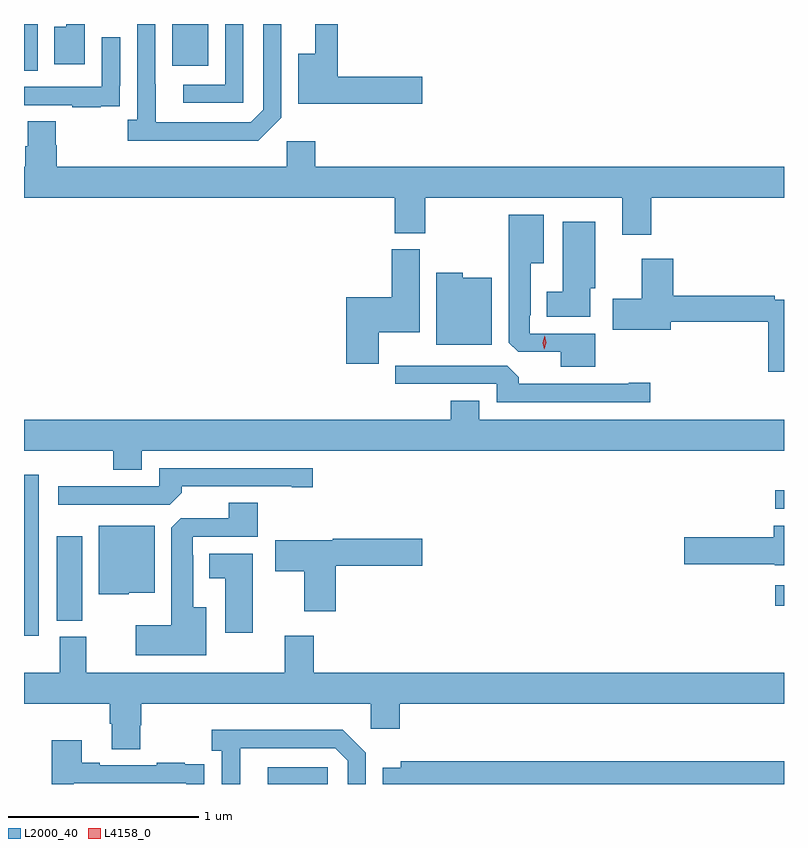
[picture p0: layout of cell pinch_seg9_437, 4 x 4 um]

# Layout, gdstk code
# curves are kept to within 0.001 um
import gdstk
lib = gdstk.Library(unit=1e-6, precision=1e-09)
def R(c, l, rs):  # rectangles x0, y0, x1, y1
    for r in rs: c.add(gdstk.rectangle(r[:2], r[2:], *l))
def P(c, l, *ps):  # polygons
    for p in ps: c.add(gdstk.Polygon(p, *l))
L2000_40 = (2000, 40)
L4158_0 = (4158, 0)

pinch_seg9_437 = lib.new_cell('pinch_seg9_437')
R(pinch_seg9_437, L2000_40, [(218.199,1201.326,218.514,1201.413), (216.916,1202.106,216.993,1202.953), (217.088,1202.185,217.222,1202.629), (220.869,1202.265,220.916,1202.373), (220.869,1202.775,220.916,1202.871), (216.916,1205.08,216.988,1205.326), (217.697,1205.105,217.885,1205.326)])
P(pinch_seg9_437, L2000_40, [(219.013,1205.048),(218.567,1205.048),(218.567,1205.326),(218.45,1205.326),(218.45,1205.17),(218.36,1205.17),(218.36,1204.906),(219.013,1204.906)],
  [(218.07,1205.326),(217.974,1205.326),(217.974,1205.007),(217.755,1205.007),(217.755,1204.911),(218.07,1204.911)],
  [(217.237,1205.326),(217.139,1205.326),(217.139,1205.311),(217.076,1205.311),(217.076,1205.115),(217.237,1205.115)],
  [(218.271,1204.833),(218.271,1205.326),(218.175,1205.326),(218.175,1204.875),(218.109,1204.809),(217.609,1204.809),(217.608,1205.326),(217.512,1205.326),(217.512,1204.822),(217.461,1204.822),(217.461,1204.712),(218.15,1204.712)],
  [(217.319,1204.893),(217.421,1204.893),(217.421,1205.002),(217.422,1205.002),(217.422,1205.257),(217.326,1205.257),(217.326,1204.995),(216.916,1204.995),(216.916,1204.899),(217.171,1204.899),(217.171,1204.887),(217.319,1204.887)],
  [(217.083,1204.689),(217.083,1204.814),(216.935,1204.814),(216.935,1204.682),(216.923,1204.682),(216.923,1204.576),(216.916,1204.576),(216.916,1204.412),(218.867,1204.412),(218.867,1204.225),(219.027,1204.225),(219.027,1204.412),(220.064,1204.412),(220.064,1204.218),(220.217,1204.218),(220.217,1204.412),(220.916,1204.412),(220.916,1204.576),(218.45,1204.576),(218.45,1204.708),(218.298,1204.708),(218.298,1204.576),(217.088,1204.576),(217.088,1204.689)],
  [(219.923,1203.696),(219.579,1203.696),(219.579,1203.793),(219.583,1203.793),(219.583,1204.067),(219.652,1204.067),(219.652,1204.321),(219.467,1204.321),(219.467,1203.649),(219.516,1203.6),(219.74,1203.6),(219.74,1203.521),(219.923,1203.521)],
  [(219.895,1203.936),(219.922,1203.936),(219.922,1204.285),(219.752,1204.285),(219.752,1203.916),(219.668,1203.916),(219.668,1203.785),(219.895,1203.785)],
  [(218.782,1203.704),(218.998,1203.704),(218.998,1204.14),(218.852,1204.14),(218.852,1203.889),(218.612,1203.889),(218.612,1203.537),(218.782,1203.537)],
  [(220.916,1203.876),(220.868,1203.876),(220.868,1203.896),(220.334,1203.896),(220.334,1204.09),(220.166,1204.09),(220.166,1203.879),(220.014,1203.879),(220.014,1203.716),(220.321,1203.716),(220.321,1203.76),(220.832,1203.76),(220.832,1203.495),(220.916,1203.495)],
  [(219.379,1203.991),(219.225,1203.991),(219.225,1204.018),(219.086,1204.018),(219.086,1203.638),(219.379,1203.638)],
  [(220.213,1203.437),(220.1,1203.437),(220.1,1203.432),(219.521,1203.432),(219.521,1203.466),(219.459,1203.528),(218.871,1203.528),(218.871,1203.432),(219.405,1203.432),(219.405,1203.336),(220.213,1203.336)],
  [(217.537,1203.08),(220.916,1203.08),(220.916,1203.244),(219.313,1203.244),(219.313,1203.343),(219.161,1203.343),(219.161,1203.244),(216.916,1203.244),(216.916,1203.08),(217.385,1203.08),(217.385,1202.981),(217.537,1202.981)],
  [(217.745,1202.858),(217.745,1202.892),(218.324,1202.892),(218.324,1202.887),(218.437,1202.887),(218.437,1202.988),(217.629,1202.988),(217.629,1202.892),(217.095,1202.892),(217.095,1202.796),(217.683,1202.796)],
  [(217.876,1202.257),(217.807,1202.257),(217.807,1202.531),(217.803,1202.531),(217.803,1202.628),(218.147,1202.628),(218.147,1202.807),(217.994,1202.807),(217.994,1202.724),(217.74,1202.724),(217.691,1202.675),(217.691,1202.161),(217.503,1202.161),(217.503,1202.003),(217.876,1202.003)],
  [(217.467,1202.333),(217.603,1202.333),(217.603,1202.686),(217.31,1202.686),(217.31,1202.324),(217.467,1202.324)],
  [(220.916,1202.686),(220.862,1202.686),(220.862,1202.625),(220.392,1202.625),(220.392,1202.483),(220.866,1202.483),(220.866,1202.477),(220.916,1202.477)],
  [(218.558,1202.474),(219.013,1202.474),(219.013,1202.616),(218.541,1202.616),(218.541,1202.608),(218.238,1202.608),(218.238,1202.446),(218.39,1202.446),(218.39,1202.235),(218.558,1202.235)],
  [(218.119,1202.539),(217.892,1202.539),(217.892,1202.408),(217.976,1202.408),(217.976,1202.121),(218.119,1202.121)],
  [(217.527,1201.635),(217.532,1201.635),(217.532,1201.748),(218.742,1201.748),(218.742,1201.617),(218.894,1201.617),(218.894,1201.748),(220.916,1201.748),(220.916,1201.912),(218.441,1201.912),(218.441,1202.107),(218.288,1202.107),(218.288,1201.912),(217.243,1201.912),(217.243,1202.1),(217.103,1202.1),(217.103,1201.912),(216.916,1201.912),(216.916,1201.748),(217.367,1201.748),(217.367,1201.642),(217.379,1201.642),(217.379,1201.51),(217.527,1201.51)],
  [(218.053,1201.515),(218.553,1201.515),(218.619,1201.449),(218.619,1201.326),(218.715,1201.326),(218.715,1201.491),(218.594,1201.612),(217.905,1201.612),(217.905,1201.502),(217.956,1201.502),(217.956,1201.326),(218.053,1201.326)],
  [(217.179,1201.329),(217.77,1201.329),(217.77,1201.326),(217.865,1201.326),(217.865,1201.431),(217.763,1201.431),(217.763,1201.438),(217.615,1201.438),(217.615,1201.425),(217.315,1201.425),(217.315,1201.438),(217.219,1201.438),(217.219,1201.555),(217.063,1201.555),(217.063,1201.326),(217.179,1201.326)],
  [(220.916,1201.447),(218.898,1201.447),(218.898,1201.411),(218.804,1201.411),(218.804,1201.326),(220.916,1201.326)])
P(pinch_seg9_437, L4158_0, [(219.653,1203.613),(219.653,1203.613),(219.645,1203.649),(219.656,1203.685),(219.657,1203.685),(219.657,1203.685),(219.665,1203.648),(219.653,1203.613)])

lib.write_gds('pinch_seg9_437.gds')
